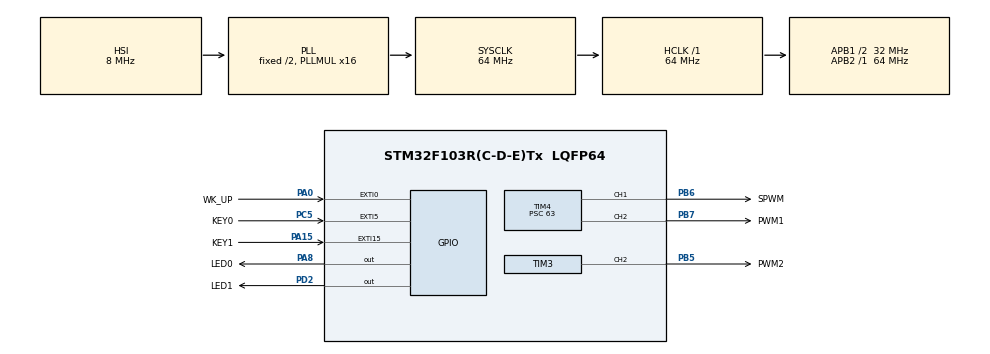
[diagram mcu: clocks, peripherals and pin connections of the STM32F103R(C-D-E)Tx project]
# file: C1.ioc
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Mcu.Family=STM32F1
Mcu.Name=STM32F103R(C-D-E)Tx
Mcu.Package=LQFP64
NVIC.EXTI0_IRQn=true\:0\:0\:true\:false\:true\:true\:true
NVIC.EXTI15_10_IRQn=true\:1\:0\:true\:false\:true\:true\:true
NVIC.EXTI9_5_IRQn=true\:2\:0\:true\:false\:true\:true\:true
NVIC.PriorityGroup=NVIC_PRIORITYGROUP_4
NVIC.TIM2_IRQn=true\:0\:0\:false\:false\:true\:true\:true
NVIC.TIM3_IRQn=true\:0\:0\:false\:false\:true\:true\:true
NVIC.TIM4_IRQn=true\:0\:0\:false\:false\:true\:true\:true
NVIC.TIM5_IRQn=true\:0\:0\:false\:false\:true\:true\:true
PA0-WKUP.GPIO_Label=WK_UP
PA0-WKUP.GPIO_PuPd=GPIO_PULLDOWN
PA0-WKUP.Signal=GPXTI0
PA13.Mode=Serial_Wire
PA13.Signal=SYS_JTMS-SWDIO
PA14.Mode=Serial_Wire
PA14.Signal=SYS_JTCK-SWCLK
PA15.GPIO_Label=KEY1
PA15.GPIO_ModeDefaultEXTI=GPIO_MODE_IT_FALLING
PA15.GPIO_PuPd=GPIO_PULLUP
PA15.Signal=GPXTI15
PA8.GPIO_Label=LED0
PA8.GPIO_PuPd=GPIO_PULLUP
PA8.Signal=GPIO_Output
PB5.GPIO_Label=PWM2
PB5.Signal=S_TIM3_CH2
PB6.GPIO_Label=SPWM
PB6.Signal=S_TIM4_CH1
PB7.GPIO_Label=PWM1
PB7.Signal=S_TIM4_CH2
PC5.GPIO_Label=KEY0
PC5.GPIO_ModeDefaultEXTI=GPIO_MODE_IT_FALLING
PC5.GPIO_PuPd=GPIO_PULLUP
PC5.Signal=GPXTI5
PD0-OSC_IN.Mode=HSE-External-Oscillator
PD0-OSC_IN.Signal=RCC_OSC_IN
PD1-OSC_OUT.Mode=HSE-External-Oscillator
PD1-OSC_OUT.Signal=RCC_OSC_OUT
PD2.GPIO_Label=LED1
PD2.GPIO_PuPd=GPIO_PULLUP
PD2.GPIO_Speed=GPIO_SPEED_FREQ_HIGH
PD2.Signal=GPIO_Output
ProjectManager.HeapSize=0x200
ProjectManager.StackSize=0x400
ProjectManager.TargetToolchain=MDK-ARM V5.32
RCC.AHBFreq_Value=64000000
RCC.APB1CLKDivider=RCC_HCLK_DIV2
RCC.APB1Freq_Value=32000000
RCC.APB1TimFreq_Value=64000000
RCC.APB2Freq_Value=64000000
RCC.APB2TimFreq_Value=64000000
RCC.HCLKFreq_Value=64000000
RCC.PLLMUL=RCC_PLL_MUL16
RCC.SYSCLKFreq_VALUE=64000000
RCC.SYSCLKSource=RCC_SYSCLKSOURCE_PLLCLK
RCC.USBFreq_Value=64000000
SH.S_TIM3_CH2.0=TIM3_CH2,PWM Generation2 CH2
SH.S_TIM4_CH1.0=TIM4_CH1,PWM Generation1 CH1
SH.S_TIM4_CH2.0=TIM4_CH2,Output Compare2 CH2
TIM2.Period=199
TIM2.Prescaler=63
TIM3.AutoReloadPreload=TIM_AUTORELOAD_PRELOAD_ENABLE
TIM3.Channel-PWM\ Generation2\ CH2=TIM_CHANNEL_2
TIM3.OCMode_PWM-PWM\ Generation2\ CH2=TIM_OCMODE_PWM2
TIM3.Period=99
TIM3.Prescaler=63
TIM3.TIM_MasterOutputTrigger=TIM_TRGO_ENABLE
TIM3.TIM_MasterSlaveMode=TIM_MASTERSLAVEMODE_ENABLE
TIM4.AutoReloadPreload=TIM_AUTORELOAD_PRELOAD_ENABLE
TIM4.Channel-Output\ Compare2\ CH2=TIM_CHANNEL_2
TIM4.Channel-PWM\ Generation1\ CH1=TIM_CHANNEL_1
TIM4.OCMode_2=TIM_OCMODE_TOGGLE
TIM4.Period=999
TIM4.Prescaler=63
TIM4.TIM_MasterOutputTrigger=TIM_TRGO_ENABLE
TIM4.TIM_MasterSlaveMode=TIM_MASTERSLAVEMODE_DISABLE
TIM5.Period=9999
TIM5.Prescaler=6399
VP_TIM2_VS_ClockSourceINT.Mode=Internal
VP_TIM3_VS_ClockSourceINT.Mode=Internal
VP_TIM3_VS_ClockSourceITR.Mode=TriggerSource_ITR3
VP_TIM3_VS_ControllerModeTrigger.Mode=Trigger Mode
VP_TIM4_VS_ClockSourceINT.Mode=Internal
VP_TIM5_VS_ClockSourceINT.Mode=Internal
board=custom

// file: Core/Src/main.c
/* USER CODE BEGIN Header */
/**
  ******************************************************************************
  * @file           : main.c
  * @brief          : Main program body
  ******************************************************************************
  * @attention
  *
  * <h2><center>&copy; Copyright (c) 2021 STMicroelectronics.
  * All rights reserved.</center></h2>
  *
  * This software component is licensed by ST under BSD 3-Clause license,
  * the "License"; You may not use this file except in compliance with the
  * License. You may obtain a copy of the License at:
  *                        opensource.org/licenses/BSD-3-Clause
  *
  ******************************************************************************
  */
/* USER CODE END Header */
#include "main.h"
#include "tim.h"
#include "gpio.h"

/* USER CODE BEGIN Includes */
#include "delay.h"
#include "sys.h"
/* USER CODE END Includes */

/* USER CODE BEGIN PD */
//下面的方式是通过直接操作HAL库函数方式读取IO
#define KEY0        HAL_GPIO_ReadPin(GPIOC,GPIO_PIN_5)  //KEY0按键PC5
#define KEY1        HAL_GPIO_ReadPin(GPIOA,GPIO_PIN_15) //KEY1按键PA15
#define WK_UP       HAL_GPIO_ReadPin(GPIOA,GPIO_PIN_0)  //WKUP按键PA0

#define KEY0_PRES 	1
#define KEY1_PRES	2
#define WKUP_PRES   3

#define LED0 PAout(8)   	//LED0
#define LED1 PDout(2)   	//LED1
/* USER CODE END PD */

/* USER CODE BEGIN PV */
int KEY=0;				//按键中断获取按键返回值
int PWM1_Flag=1;		//PWM1标志变量
int __PWM2=1;			//基本要求PWM2中断使能与否
static int __Funcition=0;		//功能切换按键
int Flag_u_d=-1;
uint16_t PWM1_ARR[10]={499,499,272,499,319,380,380,199,272,49};		//PWM1自动重载值
uint16_t PWM1_PSC[10]={63,31,38,15,19,13,11,19,12,63};					//PWM1预分频值
//uint16_t PWM1_CRR[10]={500,500,273,500,320,2500,100,200,273,50};		//PWM1捕获比较值
//uint16_t PWM2_CRR[17]={10,15,20,25,30,35,40,45,50,55,60,65,70,75,80,85,90};		//PWM捕获比较值
uint16_t PWM2_CRR[17]={90,85,80,75,70,65,60,55,50,45,40,35,30,25,20,15,10};		//PWM捕获比较值

int PWM2_Flag=0;
int size=100;
uint16_t PWM_Phase_Position[5]={0,20,40,60,80};					//发挥部分PWM相位步进
uint16_t PWM_Phase_Position_2[5]={0,80,60,40,20};
uint16_t SPWM[]={1600,1700,1800,1899,1997,2094,2188,2281,2370,2457,2540,2619,2695,2766,2832,2894,
2950,3002,3047,3087,3121,3149,3171,3187,3196,3200,3196,3187,3171,3149,3121,3087,
3047,3002,2950,2894,2832,2766,2695,2619,2540,2457,2370,2281,2188,2094,1997,1899,
1800,1700,1600,1499,1399,1300,1202,1105,1011,918,829,742,659,580,504,433,
367,305,249,197,152,112,78,50,28,12,3,0,3,12,28,50,
78,112,152,197,249,305,367,433,504,580,659,742,829,918,1011,1105,
1202,1300,1399,1499};
/* USER CODE END PV */

void SystemClock_Config(void);

int main(void)
{

  /* MCU Configuration--------------------------------------------------------*/

  /* Reset of all peripherals, Initializes the Flash interface and the Systick. */
  HAL_Init();

  /* Configure the system clock */
  SystemClock_Config();

  /* Initialize all configured peripherals */
  MX_GPIO_Init();
  MX_TIM4_Init();
  MX_TIM3_Init();
  MX_TIM5_Init();
  MX_TIM2_Init();
  /* USER CODE BEGIN 2 */
  HAL_TIM_OC_Start(&htim4,TIM_CHANNEL_2);		//使能定时器4通道2
  HAL_TIM_PWM_Start(&htim3,TIM_CHANNEL_2);		//使能定时器3通道2
  HAL_TIM_PWM_Start(&htim4,TIM_CHANNEL_1);		//使能定时器3通道1
  HAL_TIM_Base_Start_IT(&htim5);
  HAL_TIM_Base_Start_IT(&htim2);
  __HAL_TIM_MOE_ENABLE(&htim4);
  __HAL_TIM_ENABLE(&htim4);
  /* USER CODE END 2 */

  /* Infinite loop */
  while (1)
  {

    /* USER CODE BEGIN 3 */
	if(__Funcition==0)		//基本要求
	{
	  if(KEY==1)
	  {
		  KEY=0;		//按键置零
		  __HAL_TIM_SET_PRESCALER(&htim4,PWM1_PSC[PWM1_Flag]);		//设置预分频
		  __HAL_TIM_SET_AUTORELOAD(&htim4,PWM1_ARR[PWM1_Flag]);		//设置自动重载值
		  PWM1_Flag++;
		  if(PWM1_Flag==10)
			  PWM1_Flag=0;
	  }
	  else if(KEY==2)
	  {
		  KEY=0;		//按键置零
		  if(__PWM2==0)
		  {
			  LED1=1;
			  HAL_TIM_Base_Start_IT(&htim5);
			  __PWM2=1;
		  }
		  else if(__PWM2==1)
		  {
			  LED1=0;
			  HAL_TIM_Base_Stop_IT(&htim5);
			  __PWM2=0;
		  }
	  }
	  else if(KEY==3)
	  {
		  KEY=0;
		  HAL_TIM_Base_Stop_IT(&htim5);
		  __Funcition=1;
	  }
  }
	else if(__Funcition==1)		//发挥部分
	{
		if(KEY==1)
		{
			KEY=0;
			if(Flag_u_d==0)
			{
				PWM2_Flag=PWM2_Flag+1;
			}
			Flag_u_d=1;
			__HAL_TIM_SET_PRESCALER(&htim4,31);					//设置预分频
			__HAL_TIM_SET_AUTORELOAD(&htim4,99);				//设置自动重载值
			__HAL_TIM_SET_PRESCALER(&htim3,63);					//设置预分频
			__HAL_TIM_SET_AUTORELOAD(&htim3,99);				//设置自动重载值
			__HAL_TIM_SET_COMPARE(&htim4,TIM_CHANNEL_2,PWM_Phase_Position[PWM2_Flag]);
			__HAL_TIM_SET_COMPARE(&htim3,TIM_CHANNEL_2,50);
			PWM2_Flag++;
			if(PWM2_Flag==5)
				PWM2_Flag=0;
		}
		else if(KEY==2)
		{
			KEY=0;
			if(Flag_u_d==1)
			{
				PWM2_Flag=PWM2_Flag-1;
			}
			Flag_u_d=0;
			__HAL_TIM_SET_PRESCALER(&htim4,31);					//设置预分频
			__HAL_TIM_SET_AUTORELOAD(&htim4,99);				//设置自动重载值
			__HAL_TIM_SET_PRESCALER(&htim3,63);					//设置预分频
			__HAL_TIM_SET_AUTORELOAD(&htim3,99);				//设置自动重载值
			__HAL_TIM_SET_COMPARE(&htim4,TIM_CHANNEL_2,PWM_Phase_Position[PWM2_Flag]);
			__HAL_TIM_SET_COMPARE(&htim3,TIM_CHANNEL_2,50);
			PWM2_Flag--;
			if(PWM2_Flag==-1)
				PWM2_Flag=4;
		}
		else if(KEY==3)
		{
			KEY=0;
			__Funcition=0;
			HAL_TIM_Base_Stop_IT(&htim2);
		}
	}
  }
  /* USER CODE END 3 */
}

void SystemClock_Config(void)
{
  RCC_OscInitTypeDef RCC_OscInitStruct = {0};
  RCC_ClkInitTypeDef RCC_ClkInitStruct = {0};

  /** Initializes the RCC Oscillators according to the specified parameters
  * in the RCC_OscInitTypeDef structure.
  */
  RCC_OscInitStruct.OscillatorType = RCC_OSCILLATORTYPE_HSI;
  RCC_OscInitStruct.HSIState = RCC_HSI_ON;
  RCC_OscInitStruct.HSICalibrationValue = RCC_HSICALIBRATION_DEFAULT;
  RCC_OscInitStruct.PLL.PLLState = RCC_PLL_ON;
  RCC_OscInitStruct.PLL.PLLSource = RCC_PLLSOURCE_HSI_DIV2;
  RCC_OscInitStruct.PLL.PLLMUL = RCC_PLL_MUL16;
  if (HAL_RCC_OscConfig(&RCC_OscInitStruct) != HAL_OK)
  {
    Error_Handler();
  }
  /** Initializes the CPU, AHB and APB buses clocks
  */
  RCC_ClkInitStruct.ClockType = RCC_CLOCKTYPE_HCLK|RCC_CLOCKTYPE_SYSCLK
                              |RCC_CLOCKTYPE_PCLK1|RCC_CLOCKTYPE_PCLK2;
  RCC_ClkInitStruct.SYSCLKSource = RCC_SYSCLKSOURCE_PLLCLK;
  RCC_ClkInitStruct.AHBCLKDivider = RCC_SYSCLK_DIV1;
  RCC_ClkInitStruct.APB1CLKDivider = RCC_HCLK_DIV2;
  RCC_ClkInitStruct.APB2CLKDivider = RCC_HCLK_DIV1;

  if (HAL_RCC_ClockConfig(&RCC_ClkInitStruct, FLASH_LATENCY_2) != HAL_OK)
  {
    Error_Handler();
  }
}

/* USER CODE BEGIN 4 */
//中断服务程序中需要做的事情
//在HAL库中所有的外部中断服务函数都会调用此函数
//GPIO_Pin:中断引脚号
void HAL_GPIO_EXTI_Callback(uint16_t GPIO_Pin)
{
	if(GPIO_Pin==KEY0_Pin)
	{
		KEY=KEY0_PRES;		//1
		LED1=!LED1;
	}
	else if(GPIO_Pin==KEY1_Pin)
	{
		KEY=KEY1_PRES;		//2
		LED1=!LED1;
	}
	else if(GPIO_Pin==WK_UP_Pin)
	{
		KEY=WKUP_PRES;		//3
		LED1=!LED1;
	}
}

void HAL_TIM_PeriodElapsedCallback(TIM_HandleTypeDef *htim)
{
	static int PWM2_Flag=0;
	static int i=0;
	if(++i==100) i=0;
	if(htim==(&htim2))
	{
		__HAL_TIM_SET_COMPARE(&htim4,TIM_CHANNEL_1,SPWM[i]);
	}
	if(htim==(&htim5))
	{
		LED0=!LED0;
		__HAL_TIM_SET_COMPARE(&htim3,TIM_CHANNEL_2,PWM2_CRR[PWM2_Flag]);
		PWM2_Flag++;
		if(PWM2_Flag==18)
			PWM2_Flag=0;
	}
}
/* USER CODE END 4 */

void Error_Handler(void)
{
  __disable_irq();
  while (1)
  {
  }
}

/************************ (C) COPYRIGHT STMicroelectronics *****END OF FILE****/
